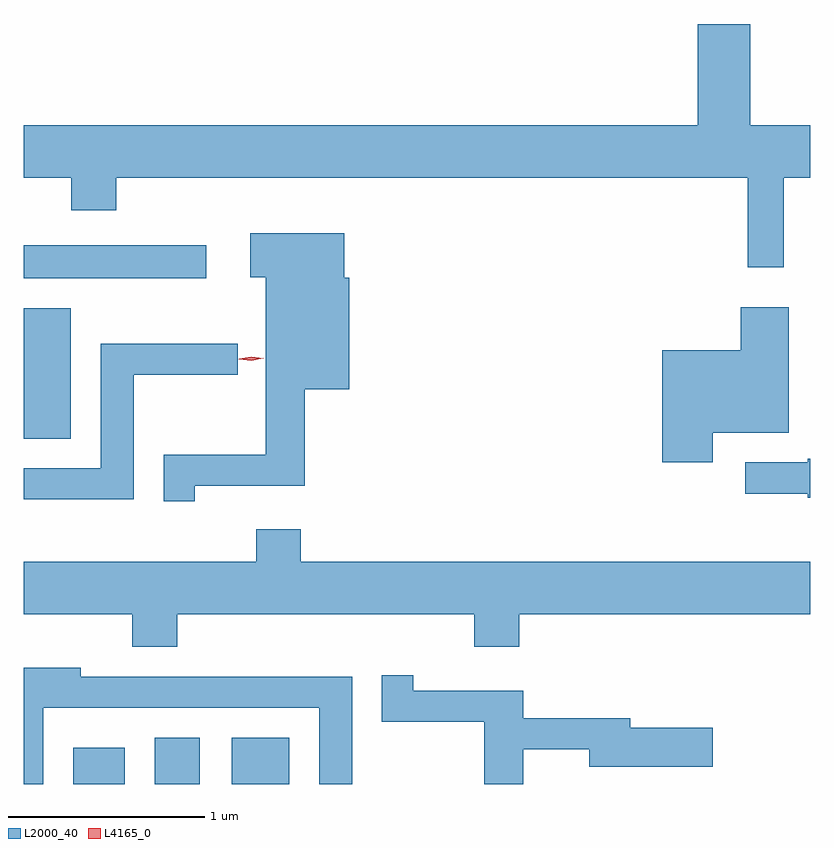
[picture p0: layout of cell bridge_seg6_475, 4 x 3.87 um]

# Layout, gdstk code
import gdstk
lib = gdstk.Library(unit=1e-6, precision=1e-09)
def R(c, l, rs):  # rectangles x0, y0, x1, y1
    for r in rs: c.add(gdstk.rectangle(r[:2], r[2:], *l))
def P(c, l, *ps):  # polygons
    for p in ps: c.add(gdstk.Polygon(p, *l))
L2000_40 = (2000, 40)
L4165_0 = (4165, 0)

bridge_seg6_475 = lib.new_cell('bridge_seg6_475')
R(bridge_seg6_475, L2000_40, [(735.821,1553.614,736.084,1553.799), (736.236,1553.614,736.464,1553.849), (736.626,1553.614,736.919,1553.849), (735.569,1555.371,735.809,1556.034), (735.569,1556.186,736.498,1556.354)])
P(bridge_seg6_475, L2000_40, [(739.434,1556.696),(739.569,1556.696),(739.569,1556.964),(739.264,1556.964),(739.264,1557.479),(738.996,1557.479),(738.996,1556.964),(735.569,1556.964),(735.569,1556.696),(735.811,1556.696),(735.811,1556.531),(736.039,1556.531),(736.039,1556.696),(739.251,1556.696),(739.251,1556.241),(739.434,1556.241)],
  [(736.439,1555.131),(736.999,1555.131),(736.999,1555.621),(737.224,1555.621),(737.224,1556.189),(737.199,1556.189),(737.199,1556.414),(736.721,1556.414),(736.721,1556.191),(736.801,1556.191),(736.801,1555.289),(736.281,1555.289),(736.281,1555.053),(736.439,1555.053)],
  [(739.074,1555.401),(739.459,1555.401),(739.459,1556.039),(739.216,1556.039),(739.216,1555.819),(738.816,1555.819),(738.816,1555.251),(739.074,1555.251)],
  [(736.129,1555.696),(736.658,1555.696),(736.658,1555.854),(735.961,1555.854),(735.961,1555.219),(735.569,1555.219),(735.569,1555.061),(736.129,1555.061)],
  [(739.569,1555.269),(739.556,1555.269),(739.556,1555.249),(739.238,1555.249),(739.238,1555.091),(739.556,1555.091),(739.556,1555.071),(739.569,1555.071)],
  [(736.349,1554.476),(737.861,1554.476),(737.861,1554.311),(738.089,1554.311),(738.089,1554.476),(739.569,1554.476),(739.569,1554.744),(736.979,1554.744),(736.979,1554.909),(736.751,1554.909),(736.751,1554.744),(735.569,1554.744),(735.569,1554.476),(736.121,1554.476),(736.121,1554.311),(736.349,1554.311)],
  [(735.669,1554.001),(737.071,1554.001),(737.071,1553.614),(737.239,1553.614),(737.239,1554.159),(735.859,1554.159),(735.859,1554.204),(735.569,1554.204),(735.569,1553.614),(735.669,1553.614)],
  [(738.109,1553.791),(738.446,1553.791),(738.446,1553.701),(739.074,1553.701),(739.074,1553.899),(738.654,1553.899),(738.654,1553.949),(738.109,1553.949),(738.109,1554.089),(737.549,1554.089),(737.549,1554.168),(737.391,1554.168),(737.391,1553.931),(737.911,1553.931),(737.911,1553.614),(738.109,1553.614)])
P(bridge_seg6_475, L4165_0, [(736.726,1555.767),(736.664,1555.775),(736.663,1555.775),(736.664,1555.776),(736.726,1555.787),(736.788,1555.78),(736.789,1555.779),(736.788,1555.778)])

lib.write_gds('bridge_seg6_475.gds')
